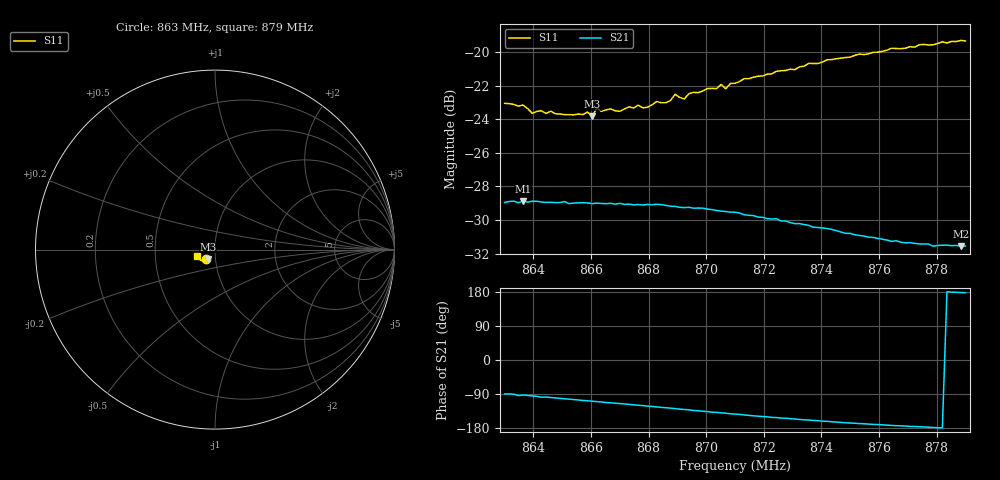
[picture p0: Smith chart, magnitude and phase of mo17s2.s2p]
# HZ S RI R 50
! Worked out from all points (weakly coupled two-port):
!   101 points, 863 MHz to 879 MHz, reference 50 ohm
!   highest |S21| = -28.88 dB at 863.64 MHz (marker M1); lowest = -31.6 dB at 878.84 MHz (marker M2)
!   lowest |S11| = -23.8 dB at 866.04 MHz (marker M3), VSWR 1.14, Z = 46.1 - j4.8 ohm
!   |S11| at or under -10 dB: start of sweep to end of sweep
!   S12 and S22 are empty: the file has one direction only
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8.63e8  -0.0494 -0.0501  9.3e-05 -0.0357  0 0  0 0
8.6364e8  -0.0488 -0.0496  -0.00149 -0.036  0 0  0 0
8.6396e8  -0.0445 -0.0484  -0.00297 -0.0359  0 0  0 0
8.6572e8  -0.0401 -0.0514  -0.0103 -0.0341  0 0  0 0
8.6588e8  -0.0398 -0.053  -0.0108 -0.0339  0 0  0 0
8.6604e8  -0.0382 -0.0518  -0.0113 -0.0335  0 0  0 0
8.662e8  -0.042 -0.0537  -0.0121 -0.0334  0 0  0 0
8.6636e8  -0.0401 -0.0531  -0.0126 -0.0331  0 0  0 0
8.67e8  -0.0384 -0.0544  -0.015 -0.0321  0 0  0 0
8.6844e8  -0.0393 -0.0587  -0.0202 -0.0287  0 0  0 0
8.6876e8  -0.0405 -0.0593  -0.0209 -0.0278  0 0  0 0
8.6892e8  -0.0434 -0.061  -0.0215 -0.0273  0 0  0 0
8.6924e8  -0.04 -0.0605  -0.0223 -0.0262  0 0  0 0
8.694e8  -0.0426 -0.062  -0.0229 -0.0258  0 0  0 0
8.7036e8  -0.0454 -0.0632  -0.0252 -0.0225  0 0  0 0
8.7052e8  -0.0482 -0.064  -0.0256 -0.0218  0 0  0 0
8.7068e8  -0.0456 -0.0629  -0.0258 -0.0214  0 0  0 0
8.71e8  -0.0489 -0.0643  -0.0265 -0.0202  0 0  0 0
8.7372e8  -0.0655 -0.0654  -0.0282 -0.0106  0 0  0 0
8.7644e8  -0.0869 -0.0548  -0.0271 -0.0035  0 0  0 0
8.7884e8  -0.102 -0.0364  -0.0264 0.00093  0 0  0 0
8.79e8  -0.1021 -0.0351  -0.0264 0.00117  0 0  0 0
